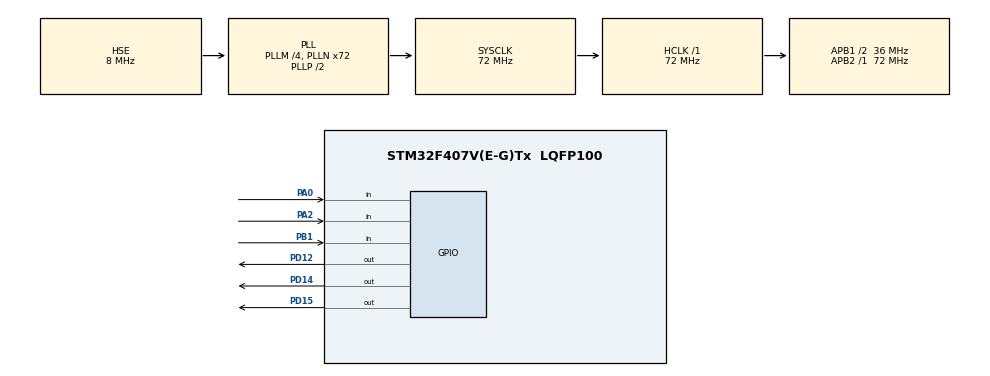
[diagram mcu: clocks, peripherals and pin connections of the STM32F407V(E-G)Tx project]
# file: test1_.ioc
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Mcu.Family=STM32F4
Mcu.Name=STM32F407V(E-G)Tx
Mcu.Package=LQFP100
NVIC.PriorityGroup=NVIC_PRIORITYGROUP_4
NVIC.RCC_IRQn=true\:0\:0\:false\:false\:true\:true\:false\:true
PA0-WKUP.GPIO_PuPd=GPIO_PULLDOWN
PA0-WKUP.Signal=GPIO_Input
PA2.GPIO_PuPd=GPIO_PULLDOWN
PA2.Signal=GPIO_Input
PB1.GPIO_PuPd=GPIO_PULLDOWN
PB1.Signal=GPIO_Input
PD12.Signal=GPIO_Output
PD14.Signal=GPIO_Output
PD15.Signal=GPIO_Output
PH0-OSC_IN.Mode=HSE-External-Oscillator
PH0-OSC_IN.Signal=RCC_OSC_IN
PH1-OSC_OUT.Mode=HSE-External-Oscillator
PH1-OSC_OUT.Signal=RCC_OSC_OUT
ProjectManager.HeapSize=0x200
ProjectManager.StackSize=0x400
ProjectManager.TargetToolchain=STM32CubeIDE
RCC.48MHZClocksFreq_Value=36000000
RCC.AHBFreq_Value=72000000
RCC.APB1CLKDivider=RCC_HCLK_DIV2
RCC.APB1Freq_Value=36000000
RCC.APB1TimFreq_Value=72000000
RCC.APB2Freq_Value=72000000
RCC.APB2TimFreq_Value=72000000
RCC.CortexFreq_Value=72000000
RCC.HCLKFreq_Value=72000000
RCC.HSE_VALUE=8000000
RCC.HSI_VALUE=16000000
RCC.LSE_VALUE=32768
RCC.PLLM=4
RCC.PLLN=72
RCC.PLLSourceVirtual=RCC_PLLSOURCE_HSE
RCC.SYSCLKFreq_VALUE=72000000
RCC.SYSCLKSource=RCC_SYSCLKSOURCE_PLLCLK
RCC.VCOOutputFreq_Value=144000000
board=custom

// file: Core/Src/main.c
/* USER CODE BEGIN Header */
/**
  ******************************************************************************
  * @file           : main.c
  * @brief          : Main program body
  ******************************************************************************
  * @attention
  *
  * Copyright (c) 2023 STMicroelectronics.
  * All rights reserved.
  *
  * This software is licensed under terms that can be found in the LICENSE file
  * in the root directory of this software component.
  * If no LICENSE file comes with this software, it is provided AS-IS.
  *
  ******************************************************************************
  */
/* USER CODE END Header */
#include "main.h"

/* USER CODE BEGIN Includes */

#include "debounce.h"

/* USER CODE END Includes */

/* USER CODE BEGIN PV */
uint16_t count = 0;
/* USER CODE END PV */

void SystemClock_Config(void);
static void MX_GPIO_Init(void);

int main(void)
{

  /* MCU Configuration--------------------------------------------------------*/

  /* Reset of all peripherals, Initializes the Flash interface and the Systick. */
  HAL_Init();

  /* Configure the system clock */
  SystemClock_Config();

  /* Initialize all configured peripherals */
  MX_GPIO_Init();

  /* Infinite loop */
  /* USER CODE BEGIN WHILE */
  while (1)
  {
	  //BUTTON 1 task
	  if(BUTS_STATE[1] == 1){
		   HAL_GPIO_WritePin( GPIOD,GPIO_PIN_14,GPIO_PIN_SET);
		   count= BUTS_COUNT[1];
	  }
	  if(BUTS_STATE[1] == 0){
		   HAL_GPIO_WritePin( GPIOD,GPIO_PIN_14,GPIO_PIN_RESET);
	  }
	  //BUTTON 2 task
	  if(BUTS_STATE[2] == 1){
		   HAL_GPIO_WritePin( GPIOD,GPIO_PIN_15,GPIO_PIN_SET);
		   count= BUTS_COUNT[2];
	  }
	  if(BUTS_STATE[2] == 0){
		   HAL_GPIO_WritePin( GPIOD,GPIO_PIN_15,GPIO_PIN_RESET);
	  }
	  //BUTTON 3 task
	  if(BUTS_STATE[3] == 1){
		   HAL_GPIO_WritePin( GPIOD,GPIO_PIN_12,GPIO_PIN_SET);
		   count= BUTS_COUNT[3];
	  }
	  if(BUTS_STATE[3] == 0){
		   HAL_GPIO_WritePin( GPIOD,GPIO_PIN_12,GPIO_PIN_RESET);
	  }
    /* USER CODE END WHILE */

  }
}

void SystemClock_Config(void)
{
  RCC_OscInitTypeDef RCC_OscInitStruct = {0};
  RCC_ClkInitTypeDef RCC_ClkInitStruct = {0};

  /** Configure the main internal regulator output voltage
  */
  __HAL_RCC_PWR_CLK_ENABLE();
  __HAL_PWR_VOLTAGESCALING_CONFIG(PWR_REGULATOR_VOLTAGE_SCALE1);

  /** Initializes the RCC Oscillators according to the specified parameters
  * in the RCC_OscInitTypeDef structure.
  */
  RCC_OscInitStruct.OscillatorType = RCC_OSCILLATORTYPE_HSE;
  RCC_OscInitStruct.HSEState = RCC_HSE_ON;
  RCC_OscInitStruct.PLL.PLLState = RCC_PLL_ON;
  RCC_OscInitStruct.PLL.PLLSource = RCC_PLLSOURCE_HSE;
  RCC_OscInitStruct.PLL.PLLM = 4;
  RCC_OscInitStruct.PLL.PLLN = 72;
  RCC_OscInitStruct.PLL.PLLP = RCC_PLLP_DIV2;
  RCC_OscInitStruct.PLL.PLLQ = 4;
  if (HAL_RCC_OscConfig(&RCC_OscInitStruct) != HAL_OK)
  {
    Error_Handler();
  }

  /** Initializes the CPU, AHB and APB buses clocks
  */
  RCC_ClkInitStruct.ClockType = RCC_CLOCKTYPE_HCLK|RCC_CLOCKTYPE_SYSCLK
                              |RCC_CLOCKTYPE_PCLK1|RCC_CLOCKTYPE_PCLK2;
  RCC_ClkInitStruct.SYSCLKSource = RCC_SYSCLKSOURCE_PLLCLK;
  RCC_ClkInitStruct.AHBCLKDivider = RCC_SYSCLK_DIV1;
  RCC_ClkInitStruct.APB1CLKDivider = RCC_HCLK_DIV2;
  RCC_ClkInitStruct.APB2CLKDivider = RCC_HCLK_DIV1;

  if (HAL_RCC_ClockConfig(&RCC_ClkInitStruct, FLASH_LATENCY_2) != HAL_OK)
  {
    Error_Handler();
  }
}

static void MX_GPIO_Init(void)
{
  GPIO_InitTypeDef GPIO_InitStruct = {0};

  /* GPIO Ports Clock Enable */
  __HAL_RCC_GPIOH_CLK_ENABLE();
  __HAL_RCC_GPIOA_CLK_ENABLE();
  __HAL_RCC_GPIOB_CLK_ENABLE();
  __HAL_RCC_GPIOD_CLK_ENABLE();

  /*Configure GPIO pin Output Level */
  HAL_GPIO_WritePin(GPIOD, GPIO_PIN_12|GPIO_PIN_14|GPIO_PIN_15, GPIO_PIN_RESET);

  /*Configure GPIO pins : PA0 PA2 */
  GPIO_InitStruct.Pin = GPIO_PIN_0|GPIO_PIN_2;
  GPIO_InitStruct.Mode = GPIO_MODE_INPUT;
  GPIO_InitStruct.Pull = GPIO_PULLDOWN;
  HAL_GPIO_Init(GPIOA, &GPIO_InitStruct);

  /*Configure GPIO pin : PB1 */
  GPIO_InitStruct.Pin = GPIO_PIN_1;
  GPIO_InitStruct.Mode = GPIO_MODE_INPUT;
  GPIO_InitStruct.Pull = GPIO_PULLDOWN;
  HAL_GPIO_Init(GPIOB, &GPIO_InitStruct);

  /*Configure GPIO pins : PD12 PD14 PD15 */
  GPIO_InitStruct.Pin = GPIO_PIN_12|GPIO_PIN_14|GPIO_PIN_15;
  GPIO_InitStruct.Mode = GPIO_MODE_OUTPUT_PP;
  GPIO_InitStruct.Pull = GPIO_NOPULL;
  GPIO_InitStruct.Speed = GPIO_SPEED_FREQ_LOW;
  HAL_GPIO_Init(GPIOD, &GPIO_InitStruct);

}

void Error_Handler(void)
{
  __disable_irq();
  while (1)
  {
  }
}
